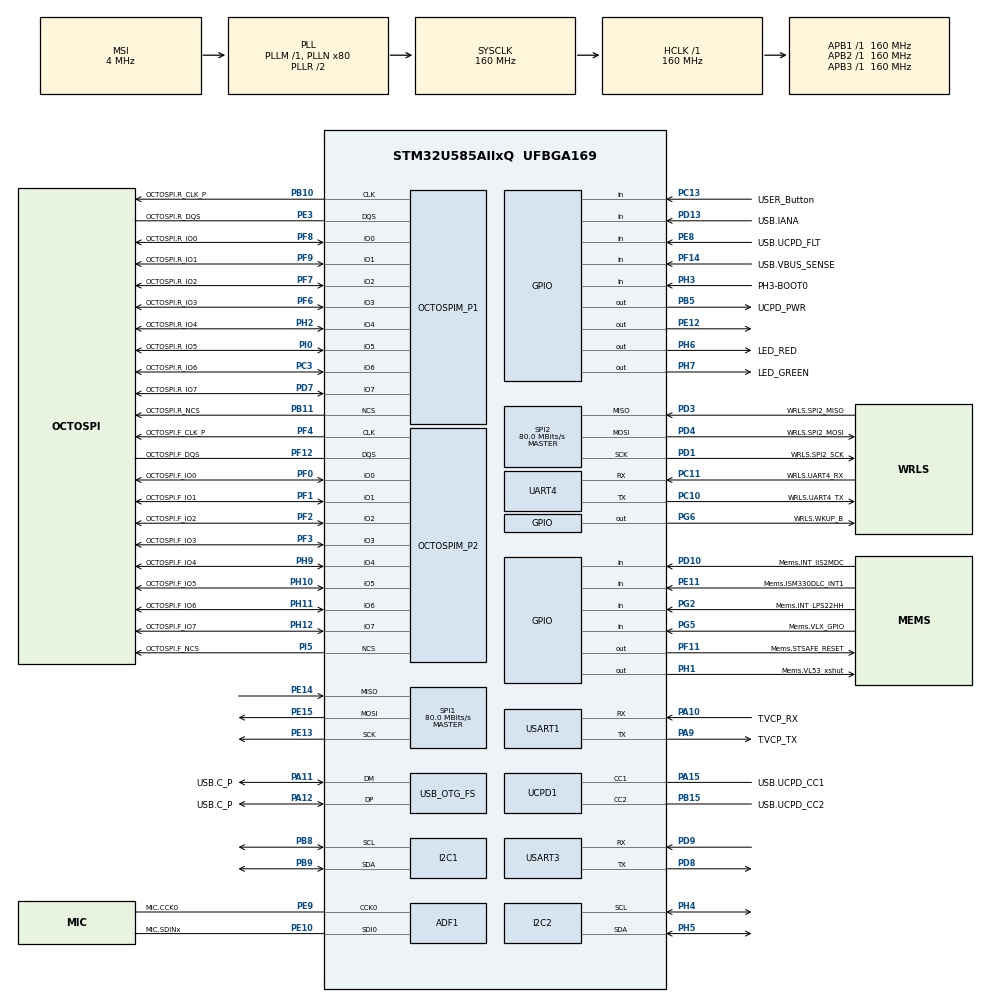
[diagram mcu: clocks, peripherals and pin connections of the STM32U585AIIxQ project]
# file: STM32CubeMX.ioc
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CORTEX_M33_NS.userName=CORTEX_M33
GPDMA1.DESTINC_GPDMACH2=DMA_DINC_INCREMENTED
GPDMA1.DESTINC_GPDMACH4=DMA_DINC_INCREMENTED
GPDMA1.DIRECTION_GPDMACH3=DMA_MEMORY_TO_PERIPH
GPDMA1.DIRECTION_GPDMACH5=DMA_MEMORY_TO_PERIPH
GPDMA1.IPHANDLE_GPDMACH2-SIMPLEREQUEST_GPDMACH2=__NULL
GPDMA1.IPHANDLE_GPDMACH3-SIMPLEREQUEST_GPDMACH3=__NULL
GPDMA1.IPHANDLE_GPDMACH4-SIMPLEREQUEST_GPDMACH4=__NULL
GPDMA1.IPHANDLE_GPDMACH5-SIMPLEREQUEST_GPDMACH5=__NULL
GPDMA1.PRIORITY_GPDMACH2=DMA_LOW_PRIORITY_HIGH_WEIGHT
GPDMA1.PRIORITY_GPDMACH3=DMA_LOW_PRIORITY_HIGH_WEIGHT
GPDMA1.PRIORITY_GPDMACH4=DMA_LOW_PRIORITY_HIGH_WEIGHT
GPDMA1.PRIORITY_GPDMACH5=DMA_LOW_PRIORITY_HIGH_WEIGHT
GPDMA1.REQUEST_GPDMACH2=GPDMA1_REQUEST_SPI1_RX
GPDMA1.REQUEST_GPDMACH3=GPDMA1_REQUEST_SPI1_TX
GPDMA1.REQUEST_GPDMACH4=GPDMA1_REQUEST_SPI2_RX
GPDMA1.REQUEST_GPDMACH5=GPDMA1_REQUEST_SPI2_TX
GPDMA1.SRCINC_GPDMACH3=DMA_SINC_INCREMENTED
GPDMA1.SRCINC_GPDMACH5=DMA_SINC_INCREMENTED
GPDMA1.TRANSFERALLOCATEDPORTDEST_GPDMACH2=DMA_DEST_ALLOCATED_PORT1
GPDMA1.TRANSFERALLOCATEDPORTDEST_GPDMACH3=DMA_DEST_ALLOCATED_PORT1
GPDMA1.TRANSFERALLOCATEDPORTDEST_GPDMACH4=DMA_DEST_ALLOCATED_PORT1
GPDMA1.TRANSFERALLOCATEDPORTDEST_GPDMACH5=DMA_DEST_ALLOCATED_PORT1
I2C1.Timing=0x30909DEC
I2C2.Timing=0x30909DEC
Mcu.Family=STM32U5
Mcu.Name=STM32U585AIIxQ
Mcu.Package=UFBGA169
NVIC.GPDMA1_Channel2_IRQn=true\:0\:0\:false\:false\:true\:false\:true\:true
NVIC.GPDMA1_Channel3_IRQn=true\:0\:0\:false\:false\:true\:false\:true\:true
NVIC.GPDMA1_Channel4_IRQn=true\:0\:0\:false\:false\:true\:false\:true\:true
NVIC.GPDMA1_Channel5_IRQn=true\:0\:0\:false\:false\:true\:false\:true\:true
NVIC.I2C1_ER_IRQn=true\:0\:0\:false\:false\:true\:true\:true\:true
NVIC.I2C1_EV_IRQn=true\:0\:0\:false\:false\:true\:true\:true\:true
NVIC.I2C2_ER_IRQn=true\:0\:0\:false\:false\:true\:true\:true\:true
NVIC.I2C2_EV_IRQn=true\:0\:0\:false\:false\:true\:true\:true\:true
NVIC.PriorityGroup=NVIC_PRIORITYGROUP_4
NVIC.SPI1_IRQn=true\:0\:0\:false\:false\:true\:false\:true\:true
NVIC.SPI2_IRQn=true\:0\:0\:false\:false\:true\:false\:true\:true
NVIC.UART4_IRQn=true\:0\:0\:false\:false\:true\:true\:true\:true
NVIC.USART1_IRQn=true\:0\:0\:false\:false\:true\:true\:true\:true
NVIC.USART3_IRQn=true\:0\:0\:false\:false\:true\:true\:true\:true
OCTOSPI1.ChipSelectBoundary=10
OCTOSPI1.ClockPrescaler=2
OCTOSPI1.DelayBlockBypass=HAL_OSPI_DELAY_BLOCK_USED
OCTOSPI1.DelayHoldQuarterCycle=HAL_OSPI_DHQC_ENABLE
OCTOSPI1.DeviceSize=23
OCTOSPI1.MemoryType=HAL_OSPI_MEMTYPE_APMEMORY
OCTOSPI1.Refresh=100
OCTOSPI2.ChipSelectBoundary=0
OCTOSPI2.ChipSelectHighTime=2
OCTOSPI2.ClockPrescaler=4
OCTOSPI2.DelayBlockBypass=HAL_OSPI_DELAY_BLOCK_USED
OCTOSPI2.DelayHoldQuarterCycle=HAL_OSPI_DHQC_ENABLE
OCTOSPI2.DeviceSize=26
OCTOSPI2.FifoThreshold=4
OCTOSPI2.MemoryType=HAL_OSPI_MEMTYPE_MACRONIX
PA10.GPIO_Label=T.VCP_RX
PA10.Mode=Asynchronous
PA10.Signal=USART1_RX
PA11.GPIO_Label=USB.C_P
PA11.Mode=Device_Only
PA11.Signal=USB_OTG_FS_DM
PA12.GPIO_Label=USB.C_P
PA12.Mode=Device_Only
PA12.Signal=USB_OTG_FS_DP
PA13\ (JTMS/SWDIO).GPIO_Label=T.SWDIO
PA13\ (JTMS/SWDIO).Mode=Trace_Asynchronous_SW
PA13\ (JTMS/SWDIO).Signal=DEBUG_JTMS-SWDIO
PA14\ (JTCK/SWCLK).GPIO_Label=T.SWCLK
PA14\ (JTCK/SWCLK).Mode=Trace_Asynchronous_SW
PA14\ (JTCK/SWCLK).Signal=DEBUG_JTCK-SWCLK
PA15\ (JTDI).GPIO_Label=USB.UCPD_CC1
PA15\ (JTDI).Mode=Dual_Role_AllSignals
PA15\ (JTDI).Signal=UCPD1_CC1
PA9.GPIO_Label=T.VCP_TX
PA9.Mode=Asynchronous
PA9.Signal=USART1_TX
PB1.GPIO_Label=MIC.SDIN0
PB1.Signal=MDF1_SDI0
PB10.GPIO_Label=OCTOSPI.R_CLK_P
PB10.Mode=O1_P1_CLK
PB10.Signal=OCTOSPIM_P1_CLK
PB11.GPIO_Label=OCTOSPI.R_NCS
PB11.Mode=OCTOSPI1_Port1_NCS
PB11.Signal=OCTOSPIM_P1_NCS
PB15.GPIO_Label=USB.UCPD_CC2
PB15.Mode=Dual_Role_AllSignals
PB15.Signal=UCPD1_CC2
PB3\ (JTDO/TRACESWO).GPIO_Label=T.SWO
PB3\ (JTDO/TRACESWO).Mode=Trace_Asynchronous_SW
PB3\ (JTDO/TRACESWO).Signal=DEBUG_JTDO-SWO
PB5.GPIO_Label=UCPD_PWR
PB5.Signal=GPIO_Output
PB8.Mode=I2C
PB8.Signal=I2C1_SCL
PB9.Mode=I2C
PB9.Signal=I2C1_SDA
PC10.GPIO_Label=WRLS.UART4_TX
PC10.Mode=Asynchronous
PC10.Signal=UART4_TX
PC11.GPIO_Label=WRLS.UART4_RX
PC11.Mode=Asynchronous
PC11.Signal=UART4_RX
PC13.GPIO_Label=USER_Button
PC13.Signal=GPIO_Input
PC14-OSC32_IN\ (PC14).GPIO_Label=PC14-OSC32_IN
PC14-OSC32_IN\ (PC14).Mode=LSE-External-Oscillator
PC14-OSC32_IN\ (PC14).Signal=RCC_OSC32_IN
PC15-OSC32_OUT\ (PC15).GPIO_Label=PC15-OSC32_OUT
PC15-OSC32_OUT\ (PC15).Mode=LSE-External-Oscillator
PC15-OSC32_OUT\ (PC15).Signal=RCC_OSC32_OUT
PC3.GPIO_Label=OCTOSPI.R_IO6
PC3.Mode=OCTOSPI1_IOH_Port1H
PC3.Signal=OCTOSPIM_P1_IO6
PD1.GPIO_Label=WRLS.SPI2_SCK
PD1.GPIO_Speed=GPIO_SPEED_FREQ_HIGH
PD1.Mode=Full_Duplex_Master
PD1.Signal=SPI2_SCK
PD10.GPIO_Label=Mems.INT_IIS2MDC
PD10.Signal=GPIO_Input
PD13.GPIO_Label=USB.IANA
PD13.Signal=GPIO_Input
PD3.GPIO_Label=WRLS.SPI2_MISO
PD3.GPIO_Speed=GPIO_SPEED_FREQ_HIGH
PD3.Mode=Full_Duplex_Master
PD3.Signal=SPI2_MISO
PD4.GPIO_Label=WRLS.SPI2_MOSI
PD4.GPIO_Speed=GPIO_SPEED_FREQ_HIGH
PD4.Mode=Full_Duplex_Master
PD4.Signal=SPI2_MOSI
PD7.GPIO_Label=OCTOSPI.R_IO7
PD7.Mode=OCTOSPI1_IOH_Port1H
PD7.Signal=OCTOSPIM_P1_IO7
PD8.GPIO_Speed=GPIO_SPEED_FREQ_MEDIUM
PD8.Mode=Asynchronous
PD8.Signal=USART3_TX
PD9.GPIO_Speed=GPIO_SPEED_FREQ_MEDIUM
PD9.Mode=Asynchronous
PD9.Signal=USART3_RX
PE10.GPIO_Label=MIC.SDINx
PE10.Mode=MOD_ADF_CCK
PE10.Signal=ADF1_SDI0
PE11.GPIO_Label=Mems.ISM330DLC_INT1
PE11.Signal=GPIO_Input
PE12.GPIO_Speed=GPIO_SPEED_FREQ_HIGH
PE12.PinState=GPIO_PIN_SET
PE12.Signal=GPIO_Output
PE13.GPIO_Speed=GPIO_SPEED_FREQ_HIGH
PE13.Mode=Full_Duplex_Master
PE13.Signal=SPI1_SCK
PE14.GPIO_Speed=GPIO_SPEED_FREQ_HIGH
PE14.Mode=Full_Duplex_Master
PE14.Signal=SPI1_MISO
PE15.GPIO_Speed=GPIO_SPEED_FREQ_HIGH
PE15.Mode=Full_Duplex_Master
PE15.Signal=SPI1_MOSI
PE3.GPIO_Label=OCTOSPI.R_DQS
PE3.Mode=OCTOSPI1_Port1_DQS
PE3.Signal=OCTOSPIM_P1_DQS
PE8.GPIO_Label=USB.UCPD_FLT
PE8.Signal=GPIO_Input
PE9.GPIO_Label=MIC.CCK0
PE9.Mode=MOD_MDF_CCK0
PE9.Signal=ADF1_CCK0
PF0.GPIO_Label=OCTOSPI.F_IO0
PF0.Mode=OCTOSPI2_IOL_Port2L
PF0.Signal=OCTOSPIM_P2_IO0
PF1.GPIO_Label=OCTOSPI.F_IO1
PF1.Mode=OCTOSPI2_IOL_Port2L
PF1.Signal=OCTOSPIM_P2_IO1
PF10.GPIO_Label=MIC.CCK1
PF10.Signal=MDF1_CCK1
PF11.GPIO_Label=Mems.STSAFE_RESET
PF11.Signal=GPIO_Output
PF12.GPIO_Label=OCTOSPI.F_DQS
PF12.Mode=OCTOSPI2_Port2_DQS
PF12.Signal=OCTOSPIM_P2_DQS
PF14.GPIO_Label=USB.VBUS_SENSE
PF14.Signal=GPIO_Input
PF2.GPIO_Label=OCTOSPI.F_IO2
PF2.Mode=OCTOSPI2_IOL_Port2L
PF2.Signal=OCTOSPIM_P2_IO2
PF3.GPIO_Label=OCTOSPI.F_IO3
PF3.Mode=OCTOSPI2_IOL_Port2L
PF3.Signal=OCTOSPIM_P2_IO3
PF4.GPIO_Label=OCTOSPI.F_CLK_P
PF4.Mode=O2_P2_CLK
PF4.Signal=OCTOSPIM_P2_CLK
PF6.GPIO_Label=OCTOSPI.R_IO3
PF6.Mode=OCTOSPI1_IOL_Port1L
PF6.Signal=OCTOSPIM_P1_IO3
PF7.GPIO_Label=OCTOSPI.R_IO2
PF7.Mode=OCTOSPI1_IOL_Port1L
PF7.Signal=OCTOSPIM_P1_IO2
PF8.GPIO_Label=OCTOSPI.R_IO0
PF8.Mode=OCTOSPI1_IOL_Port1L
PF8.Signal=OCTOSPIM_P1_IO0
PF9.GPIO_Label=OCTOSPI.R_IO1
PF9.Mode=OCTOSPI1_IOL_Port1L
PF9.Signal=OCTOSPIM_P1_IO1
PG2.GPIO_Label=Mems.INT_LPS22HH
PG2.Signal=GPIO_Input
PG5.GPIO_Label=Mems.VLX_GPIO
PG5.Signal=GPIO_Input
PG6.GPIO_Label=WRLS.WKUP_B
PG6.Signal=GPIO_Output
PH1-OSC_OUT\ (PH1).GPIO_Label=Mems.VL53_xshut
PH1-OSC_OUT\ (PH1).Signal=GPIO_Output
PH10.GPIO_Label=OCTOSPI.F_IO5
PH10.Mode=OCTOSPI2_IOH_Port2H
PH10.Signal=OCTOSPIM_P2_IO5
PH11.GPIO_Label=OCTOSPI.F_IO6
PH11.Mode=OCTOSPI2_IOH_Port2H
PH11.Signal=OCTOSPIM_P2_IO6
PH12.GPIO_Label=OCTOSPI.F_IO7
PH12.Mode=OCTOSPI2_IOH_Port2H
PH12.Signal=OCTOSPIM_P2_IO7
PH2.GPIO_Label=OCTOSPI.R_IO4
PH2.Mode=OCTOSPI1_IOH_Port1H
PH2.Signal=OCTOSPIM_P1_IO4
PH3-BOOT0.GPIO_Label=PH3-BOOT0
PH3-BOOT0.Signal=GPIO_Input
PH4.Mode=I2C
PH4.Signal=I2C2_SCL
PH5.Mode=I2C
PH5.Signal=I2C2_SDA
PH6.GPIO_Label=LED_RED
PH6.Signal=GPIO_Output
PH7.GPIO_Label=LED_GREEN
PH7.Signal=GPIO_Output
PH9.GPIO_Label=OCTOSPI.F_IO4
PH9.Mode=OCTOSPI2_IOH_Port2H
PH9.Signal=OCTOSPIM_P2_IO4
PI0.GPIO_Label=OCTOSPI.R_IO5
PI0.Mode=OCTOSPI1_IOH_Port1H
PI0.Signal=OCTOSPIM_P1_IO5
PI5.GPIO_Label=OCTOSPI.F_NCS
PI5.Mode=OCTOSPI2_Port2_NCS
PI5.Signal=OCTOSPIM_P2_NCS
PWR.PowerMode=PWR_SMPS_SUPPLY
ProjectManager.HeapSize=0x200
ProjectManager.StackSize=0x400
ProjectManager.TargetToolchain=MDK-ARM V5.32
RCC.ADCFreq_Value=16000000
RCC.AHBFreq_Value=160000000
RCC.APB1Freq_Value=160000000
RCC.APB1TimFreq_Value=160000000
RCC.APB2Freq_Value=160000000
RCC.APB2TimFreq_Value=160000000
RCC.APB3Freq_Value=160000000
RCC.CortexFreq_Value=160000000
RCC.DACCLockSelectionVirtual=RCC_DAC1CLKSOURCE_LSI
RCC.DACCLockSelectionVirtualString=RCC_DAC1CLKSOURCE_LSI
RCC.EPOD_VALUE=4000000
RCC.HCLKFreq_Value=160000000
RCC.HSE_VALUE=16000000
RCC.HSI48_VALUE=48000000
RCC.HSI_VALUE=16000000
RCC.LSIDIV_VALUE=32000
RCC.MSI_VALUE=4000000
RCC.PLLN=80
RCC.SYSCLKFreq_VALUE=160000000
RCC.SYSCLKSource=RCC_SYSCLKSOURCE_PLLCLK
RCC.USBFreq_Value=48000000
RCC.VCOOutputFreq_Value=320000000
SPI1.CalculateBaudRate=80.0 MBits/s
SPI1.Direction=SPI_DIRECTION_2LINES
SPI1.Mode=SPI_MODE_MASTER
SPI1.VirtualType=VM_MASTER
SPI2.CalculateBaudRate=80.0 MBits/s
SPI2.Direction=SPI_DIRECTION_2LINES
SPI2.Mode=SPI_MODE_MASTER
SPI2.VirtualType=VM_MASTER
USART1.FIFOMode=FIFOMODE_ENABLE
USART1.RXFIFOThreshold=RXFIFO_THRESHOLD_HALFFULL
USART1.VirtualMode-Asynchronous=VM_ASYNC
USART3.VirtualMode-Asynchronous=VM_ASYNC
USB_OTG_FS.VirtualMode=Device_Only
VP_GPDMA1_VS_GPDMACH2.Mode=SIMPLEREQUEST_GPDMACH2
VP_GPDMA1_VS_GPDMACH3.Mode=SIMPLEREQUEST_GPDMACH3
VP_GPDMA1_VS_GPDMACH4.Mode=SIMPLEREQUEST_GPDMACH4
VP_GPDMA1_VS_GPDMACH5.Mode=SIMPLEREQUEST_GPDMACH5
VP_ICACHE_VS_ICACHE.Mode=DefaultMode
VP_LPBAMQUEUE_VS_QUEUE.Mode=QUEUEMODE
VP_LPBAM_VS_SIG1.Mode=SmartRun
VP_LPBAM_VS_SIG4.Mode=LPDMA1
VP_OCTOSPI1_VS_octo.Mode=octo_mode
VP_OCTOSPI2_VS_octo.Mode=octo_mode
VP_PWR_VS_DBSignals.Mode=DisableDeadBatterySignals
VP_PWR_VS_LPOM.Mode=PowerOptimisation
VP_PWR_VS_SECSignals.Mode=Security/Privilege
board=B-U585I-IOT02A

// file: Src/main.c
/* USER CODE BEGIN Header */
/**
  ******************************************************************************
  * @file           : main.c
  * @brief          : Main program body
  ******************************************************************************
  * @attention
  *
  * Copyright (c) 2023 STMicroelectronics.
  * All rights reserved.
  *
  * This software is licensed under terms that can be found in the LICENSE file
  * in the root directory of this software component.
  * If no LICENSE file comes with this software, it is provided AS-IS.
  *
  ******************************************************************************
  */
/* USER CODE END Header */
#include "main.h"

/* USER CODE BEGIN Includes */

#include "cmsis_vio.h"

/* USER CODE END Includes */

MDF_HandleTypeDef AdfHandle0;
MDF_FilterConfigTypeDef AdfFilterConfig0;

I2C_HandleTypeDef hi2c1;
I2C_HandleTypeDef hi2c2;

OSPI_HandleTypeDef hospi1;
OSPI_HandleTypeDef hospi2;

SPI_HandleTypeDef hspi1;
SPI_HandleTypeDef hspi2;
DMA_HandleTypeDef handle_GPDMA1_Channel3;
DMA_HandleTypeDef handle_GPDMA1_Channel2;
DMA_HandleTypeDef handle_GPDMA1_Channel5;
DMA_HandleTypeDef handle_GPDMA1_Channel4;

UART_HandleTypeDef huart4;
UART_HandleTypeDef huart1;
UART_HandleTypeDef huart3;

PCD_HandleTypeDef hpcd_USB_OTG_FS;

void SystemClock_Config(void);
static void SystemPower_Config(void);
static void MX_GPIO_Init(void);
static void MX_GPDMA1_Init(void);
static void MX_I2C1_Init(void);
static void MX_I2C2_Init(void);
static void MX_OCTOSPI1_Init(void);
static void MX_OCTOSPI2_Init(void);
static void MX_SPI2_Init(void);
static void MX_UART4_Init(void);
static void MX_USART1_UART_Init(void);
static void MX_ADF1_Init(void);
static void MX_USB_OTG_FS_PCD_Init(void);
static void MX_SPI1_Init(void);
static void MX_UCPD1_Init(void);
static void MX_ICACHE_Init(void);
static void MX_USART3_UART_Init(void);

/* USER CODE BEGIN 0 */

#ifdef CMSIS_shield_header
__WEAK int32_t shield_setup (void) {
  return 0;
}
#endif

/**
  * Override default HAL_GetTick function
  */
uint32_t HAL_GetTick (void) {
  static uint32_t ticks = 0U;
         uint32_t i;

  /* If Kernel is not running wait approximately 1 ms then increment
     and return auxiliary tick counter value */
  for (i = (SystemCoreClock >> 14U); i > 0U; i--) {
    __NOP(); __NOP(); __NOP(); __NOP(); __NOP(); __NOP();
    __NOP(); __NOP(); __NOP(); __NOP(); __NOP(); __NOP();
  }
  return ++ticks;
}

/**
  * Override default HAL_InitTick function
  */
HAL_StatusTypeDef HAL_InitTick(uint32_t TickPriority) {

  UNUSED(TickPriority);

  return HAL_OK;
}

/* USER CODE END 0 */

int main(void)
{

  /* MCU Configuration--------------------------------------------------------*/

  /* Reset of all peripherals, Initializes the Flash interface and the Systick. */
  HAL_Init();

  /* Configure the system clock */
  SystemClock_Config();

  /* Configure the System Power */
  SystemPower_Config();

  /* USER CODE BEGIN SysInit */
  SystemCoreClockUpdate();
  /* USER CODE END SysInit */

  /* Initialize all configured peripherals */
  MX_GPIO_Init();
  MX_GPDMA1_Init();
  MX_I2C1_Init();
  MX_I2C2_Init();
  MX_OCTOSPI1_Init();
  MX_OCTOSPI2_Init();
  MX_SPI2_Init();
  MX_UART4_Init();
  MX_USART1_UART_Init();
  MX_ADF1_Init();
  MX_USB_OTG_FS_PCD_Init();
  MX_SPI1_Init();
  MX_UCPD1_Init();
  MX_ICACHE_Init();
  MX_USART3_UART_Init();
  /* USER CODE BEGIN 2 */

  vioInit();

#ifdef CMSIS_shield_header
  shield_setup();
#endif

  app_main();

  /* USER CODE END 2 */

  /* Infinite loop */
  while (1)
  {

  }
}

void SystemClock_Config(void)
{
  RCC_OscInitTypeDef RCC_OscInitStruct = {0};
  RCC_ClkInitTypeDef RCC_ClkInitStruct = {0};

  /** Configure the main internal regulator output voltage
  */
  if (HAL_PWREx_ControlVoltageScaling(PWR_REGULATOR_VOLTAGE_SCALE1) != HAL_OK)
  {
    Error_Handler();
  }

  /** Initializes the CPU, AHB and APB buses clocks
  */
  RCC_OscInitStruct.OscillatorType = RCC_OSCILLATORTYPE_HSI48|RCC_OSCILLATORTYPE_MSI;
  RCC_OscInitStruct.HSI48State = RCC_HSI48_ON;
  RCC_OscInitStruct.MSIState = RCC_MSI_ON;
  RCC_OscInitStruct.MSICalibrationValue = RCC_MSICALIBRATION_DEFAULT;
  RCC_OscInitStruct.MSIClockRange = RCC_MSIRANGE_4;
  RCC_OscInitStruct.PLL.PLLState = RCC_PLL_ON;
  RCC_OscInitStruct.PLL.PLLSource = RCC_PLLSOURCE_MSI;
  RCC_OscInitStruct.PLL.PLLMBOOST = RCC_PLLMBOOST_DIV1;
  RCC_OscInitStruct.PLL.PLLM = 1;
  RCC_OscInitStruct.PLL.PLLN = 80;
  RCC_OscInitStruct.PLL.PLLP = 2;
  RCC_OscInitStruct.PLL.PLLQ = 2;
  RCC_OscInitStruct.PLL.PLLR = 2;
  RCC_OscInitStruct.PLL.PLLRGE = RCC_PLLVCIRANGE_0;
  RCC_OscInitStruct.PLL.PLLFRACN = 0;
  if (HAL_RCC_OscConfig(&RCC_OscInitStruct) != HAL_OK)
  {
    Error_Handler();
  }

  /** Initializes the CPU, AHB and APB buses clocks
  */
  RCC_ClkInitStruct.ClockType = RCC_CLOCKTYPE_HCLK|RCC_CLOCKTYPE_SYSCLK
                              |RCC_CLOCKTYPE_PCLK1|RCC_CLOCKTYPE_PCLK2
                              |RCC_CLOCKTYPE_PCLK3;
  RCC_ClkInitStruct.SYSCLKSource = RCC_SYSCLKSOURCE_PLLCLK;
  RCC_ClkInitStruct.AHBCLKDivider = RCC_SYSCLK_DIV1;
  RCC_ClkInitStruct.APB1CLKDivider = RCC_HCLK_DIV1;
  RCC_ClkInitStruct.APB2CLKDivider = RCC_HCLK_DIV1;
  RCC_ClkInitStruct.APB3CLKDivider = RCC_HCLK_DIV1;

  if (HAL_RCC_ClockConfig(&RCC_ClkInitStruct, FLASH_LATENCY_4) != HAL_OK)
  {
    Error_Handler();
  }
}

/**
  * @brief Power Configuration
  * @retval None
  */
static void SystemPower_Config(void)
{
  HAL_PWREx_EnableVddIO2();

  /*
   * Switch to SMPS regulator instead of LDO
   */
  if (HAL_PWREx_ConfigSupply(PWR_SMPS_SUPPLY) != HAL_OK)
  {
    Error_Handler();
  }
}

static void MX_ADF1_Init(void)
{

  /**
    AdfHandle0 structure initialization and HAL_MDF_Init function call
  */
  AdfHandle0.Instance = ADF1_Filter0;
  AdfHandle0.Init.CommonParam.ProcClockDivider = 1;
  AdfHandle0.Init.CommonParam.OutputClock.Activation = DISABLE;
  AdfHandle0.Init.SerialInterface.Activation = ENABLE;
  AdfHandle0.Init.SerialInterface.ClockSource = MDF_SITF_CCK0_SOURCE;
  AdfHandle0.Init.SerialInterface.Threshold = 4;
  AdfHandle0.Init.FilterBistream = MDF_BITSTREAM0_FALLING;
  if (HAL_MDF_Init(&AdfHandle0) != HAL_OK)
  {
    Error_Handler();
  }

  /**
    AdfFilterConfig0 structure initialization

    WARNING : only structure is filled, no specific init function call for filter
  */
  AdfFilterConfig0.DataSource = MDF_DATA_SOURCE_BSMX;
  AdfFilterConfig0.Delay = 0;
  AdfFilterConfig0.CicMode = MDF_ONE_FILTER_SINC4;
  AdfFilterConfig0.DecimationRatio = 2;
  AdfFilterConfig0.Gain = 0;
  AdfFilterConfig0.ReshapeFilter.Activation = DISABLE;
  AdfFilterConfig0.HighPassFilter.Activation = DISABLE;
  AdfFilterConfig0.SoundActivity.Activation = DISABLE;
  AdfFilterConfig0.AcquisitionMode = MDF_MODE_ASYNC_CONT;
  AdfFilterConfig0.FifoThreshold = MDF_FIFO_THRESHOLD_NOT_EMPTY;
  AdfFilterConfig0.DiscardSamples = 0;

}

static void MX_GPDMA1_Init(void)
{

  /* Peripheral clock enable */
  __HAL_RCC_GPDMA1_CLK_ENABLE();

  /* GPDMA1 interrupt Init */
    HAL_NVIC_SetPriority(GPDMA1_Channel2_IRQn, 0, 0);
    HAL_NVIC_EnableIRQ(GPDMA1_Channel2_IRQn);
    HAL_NVIC_SetPriority(GPDMA1_Channel3_IRQn, 0, 0);
    HAL_NVIC_EnableIRQ(GPDMA1_Channel3_IRQn);
    HAL_NVIC_SetPriority(GPDMA1_Channel4_IRQn, 0, 0);
    HAL_NVIC_EnableIRQ(GPDMA1_Channel4_IRQn);
    HAL_NVIC_SetPriority(GPDMA1_Channel5_IRQn, 0, 0);
    HAL_NVIC_EnableIRQ(GPDMA1_Channel5_IRQn);

}

static void MX_I2C1_Init(void)
{

  hi2c1.Instance = I2C1;
  hi2c1.Init.Timing = 0x30909DEC;
  hi2c1.Init.OwnAddress1 = 0;
  hi2c1.Init.AddressingMode = I2C_ADDRESSINGMODE_7BIT;
  hi2c1.Init.DualAddressMode = I2C_DUALADDRESS_DISABLE;
  hi2c1.Init.OwnAddress2 = 0;
  hi2c1.Init.OwnAddress2Masks = I2C_OA2_NOMASK;
  hi2c1.Init.GeneralCallMode = I2C_GENERALCALL_DISABLE;
  hi2c1.Init.NoStretchMode = I2C_NOSTRETCH_DISABLE;
  if (HAL_I2C_Init(&hi2c1) != HAL_OK)
  {
    Error_Handler();
  }

  /** Configure Analogue filter
  */
  if (HAL_I2CEx_ConfigAnalogFilter(&hi2c1, I2C_ANALOGFILTER_ENABLE) != HAL_OK)
  {
    Error_Handler();
  }

  /** Configure Digital filter
  */
  if (HAL_I2CEx_ConfigDigitalFilter(&hi2c1, 0) != HAL_OK)
  {
    Error_Handler();
  }

}

static void MX_I2C2_Init(void)
{

  hi2c2.Instance = I2C2;
  hi2c2.Init.Timing = 0x30909DEC;
  hi2c2.Init.OwnAddress1 = 0;
  hi2c2.Init.AddressingMode = I2C_ADDRESSINGMODE_7BIT;
  hi2c2.Init.DualAddressMode = I2C_DUALADDRESS_DISABLE;
  hi2c2.Init.OwnAddress2 = 0;
  hi2c2.Init.OwnAddress2Masks = I2C_OA2_NOMASK;
  hi2c2.Init.GeneralCallMode = I2C_GENERALCALL_DISABLE;
  hi2c2.Init.NoStretchMode = I2C_NOSTRETCH_DISABLE;
  if (HAL_I2C_Init(&hi2c2) != HAL_OK)
  {
    Error_Handler();
  }

  /** Configure Analogue filter
  */
  if (HAL_I2CEx_ConfigAnalogFilter(&hi2c2, I2C_ANALOGFILTER_ENABLE) != HAL_OK)
  {
    Error_Handler();
  }

  /** Configure Digital filter
  */
  if (HAL_I2CEx_ConfigDigitalFilter(&hi2c2, 0) != HAL_OK)
  {
    Error_Handler();
  }

}

static void MX_ICACHE_Init(void)
{

  /** Enable instruction cache (default 2-ways set associative cache)
  */
  if (HAL_ICACHE_Enable() != HAL_OK)
  {
    Error_Handler();
  }

}

static void MX_OCTOSPI1_Init(void)
{

  OSPIM_CfgTypeDef sOspiManagerCfg = {0};
  HAL_OSPI_DLYB_CfgTypeDef HAL_OSPI_DLYB_Cfg_Struct = {0};

  /* OCTOSPI1 parameter configuration*/
  hospi1.Instance = OCTOSPI1;
  hospi1.Init.FifoThreshold = 1;
  hospi1.Init.DualQuad = HAL_OSPI_DUALQUAD_DISABLE;
  hospi1.Init.MemoryType = HAL_OSPI_MEMTYPE_APMEMORY;
  hospi1.Init.DeviceSize = 23;
  hospi1.Init.ChipSelectHighTime = 1;
  hospi1.Init.FreeRunningClock = HAL_OSPI_FREERUNCLK_DISABLE;
  hospi1.Init.ClockMode = HAL_OSPI_CLOCK_MODE_0;
  hospi1.Init.WrapSize = HAL_OSPI_WRAP_NOT_SUPPORTED;
  hospi1.Init.ClockPrescaler = 2;
  hospi1.Init.SampleShifting = HAL_OSPI_SAMPLE_SHIFTING_NONE;
  hospi1.Init.DelayHoldQuarterCycle = HAL_OSPI_DHQC_ENABLE;
  hospi1.Init.ChipSelectBoundary = 10;
  hospi1.Init.DelayBlockBypass = HAL_OSPI_DELAY_BLOCK_USED;
  hospi1.Init.MaxTran = 0;
  hospi1.Init.Refresh = 100;
  if (HAL_OSPI_Init(&hospi1) != HAL_OK)
  {
    Error_Handler();
  }
  sOspiManagerCfg.ClkPort = 1;
  sOspiManagerCfg.DQSPort = 1;
  sOspiManagerCfg.NCSPort = 1;
  sOspiManagerCfg.IOLowPort = HAL_OSPIM_IOPORT_1_LOW;
  sOspiManagerCfg.IOHighPort = HAL_OSPIM_IOPORT_1_HIGH;
  if (HAL_OSPIM_Config(&hospi1, &sOspiManagerCfg, HAL_OSPI_TIMEOUT_DEFAULT_VALUE) != HAL_OK)
  {
    Error_Handler();
  }
  HAL_OSPI_DLYB_Cfg_Struct.Units = 0;
  HAL_OSPI_DLYB_Cfg_Struct.PhaseSel = 0;
  if (HAL_OSPI_DLYB_SetConfig(&hospi1, &HAL_OSPI_DLYB_Cfg_Struct) != HAL_OK)
  {
    Error_Handler();
  }

}

static void MX_OCTOSPI2_Init(void)
{

  OSPIM_CfgTypeDef sOspiManagerCfg = {0};
  HAL_OSPI_DLYB_CfgTypeDef HAL_OSPI_DLYB_Cfg_Struct = {0};

  /* OCTOSPI2 parameter configuration*/
  hospi2.Instance = OCTOSPI2;
  hospi2.Init.FifoThreshold = 4;
  hospi2.Init.DualQuad = HAL_OSPI_DUALQUAD_DISABLE;
  hospi2.Init.MemoryType = HAL_OSPI_MEMTYPE_MACRONIX;
  hospi2.Init.DeviceSize = 26;
  hospi2.Init.ChipSelectHighTime = 2;
  hospi2.Init.FreeRunningClock = HAL_OSPI_FREERUNCLK_DISABLE;
  hospi2.Init.ClockMode = HAL_OSPI_CLOCK_MODE_0;
  hospi2.Init.WrapSize = HAL_OSPI_WRAP_NOT_SUPPORTED;
  hospi2.Init.ClockPrescaler = 4;
  hospi2.Init.SampleShifting = HAL_OSPI_SAMPLE_SHIFTING_NONE;
  hospi2.Init.DelayHoldQuarterCycle = HAL_OSPI_DHQC_ENABLE;
  hospi2.Init.ChipSelectBoundary = 0;
  hospi2.Init.DelayBlockBypass = HAL_OSPI_DELAY_BLOCK_USED;
  hospi2.Init.MaxTran = 0;
  hospi2.Init.Refresh = 0;
  if (HAL_OSPI_Init(&hospi2) != HAL_OK)
  {
    Error_Handler();
  }
  sOspiManagerCfg.ClkPort = 2;
  sOspiManagerCfg.DQSPort = 2;
  sOspiManagerCfg.NCSPort = 2;
  sOspiManagerCfg.IOLowPort = HAL_OSPIM_IOPORT_2_LOW;
  sOspiManagerCfg.IOHighPort = HAL_OSPIM_IOPORT_2_HIGH;
  if (HAL_OSPIM_Config(&hospi2, &sOspiManagerCfg, HAL_OSPI_TIMEOUT_DEFAULT_VALUE) != HAL_OK)
  {
    Error_Handler();
  }
  HAL_OSPI_DLYB_Cfg_Struct.Units = 0;
  HAL_OSPI_DLYB_Cfg_Struct.PhaseSel = 0;
  if (HAL_OSPI_DLYB_SetConfig(&hospi2, &HAL_OSPI_DLYB_Cfg_Struct) != HAL_OK)
  {
    Error_Handler();
  }

}

static void MX_SPI1_Init(void)
{

  SPI_AutonomousModeConfTypeDef HAL_SPI_AutonomousMode_Cfg_Struct = {0};

  /* SPI1 parameter configuration*/
  hspi1.Instance = SPI1;
  hspi1.Init.Mode = SPI_MODE_MASTER;
  hspi1.Init.Direction = SPI_DIRECTION_2LINES;
  hspi1.Init.DataSize = SPI_DATASIZE_4BIT;
  hspi1.Init.CLKPolarity = SPI_POLARITY_LOW;
  hspi1.Init.CLKPhase = SPI_PHASE_1EDGE;
  hspi1.Init.NSS = SPI_NSS_SOFT;
  hspi1.Init.BaudRatePrescaler = SPI_BAUDRATEPRESCALER_2;
  hspi1.Init.FirstBit = SPI_FIRSTBIT_MSB;
  hspi1.Init.TIMode = SPI_TIMODE_DISABLE;
  hspi1.Init.CRCCalculation = SPI_CRCCALCULATION_DISABLE;
  hspi1.Init.CRCPolynomial = 0x7;
  hspi1.Init.NSSPMode = SPI_NSS_PULSE_ENABLE;
  hspi1.Init.NSSPolarity = SPI_NSS_POLARITY_LOW;
  hspi1.Init.FifoThreshold = SPI_FIFO_THRESHOLD_01DATA;
  hspi1.Init.MasterSSIdleness = SPI_MASTER_SS_IDLENESS_00CYCLE;
  hspi1.Init.MasterInterDataIdleness = SPI_MASTER_INTERDATA_IDLENESS_00CYCLE;
  hspi1.Init.MasterReceiverAutoSusp = SPI_MASTER_RX_AUTOSUSP_DISABLE;
  hspi1.Init.MasterKeepIOState = SPI_MASTER_KEEP_IO_STATE_DISABLE;
  hspi1.Init.IOSwap = SPI_IO_SWAP_DISABLE;
  hspi1.Init.ReadyMasterManagement = SPI_RDY_MASTER_MANAGEMENT_INTERNALLY;
  hspi1.Init.ReadyPolarity = SPI_RDY_POLARITY_HIGH;
  if (HAL_SPI_Init(&hspi1) != HAL_OK)
  {
    Error_Handler();
  }
  HAL_SPI_AutonomousMode_Cfg_Struct.TriggerState = SPI_AUTO_MODE_DISABLE;
  HAL_SPI_AutonomousMode_Cfg_Struct.TriggerSelection = SPI_GRP1_GPDMA_CH0_TCF_TRG;
  HAL_SPI_AutonomousMode_Cfg_Struct.TriggerPolarity = SPI_TRIG_POLARITY_RISING;
  if (HAL_SPIEx_SetConfigAutonomousMode(&hspi1, &HAL_SPI_AutonomousMode_Cfg_Struct) != HAL_OK)
  {
    Error_Handler();
  }

}

static void MX_SPI2_Init(void)
{

  SPI_AutonomousModeConfTypeDef HAL_SPI_AutonomousMode_Cfg_Struct = {0};

  /* SPI2 parameter configuration*/
  hspi2.Instance = SPI2;
  hspi2.Init.Mode = SPI_MODE_MASTER;
  hspi2.Init.Direction = SPI_DIRECTION_2LINES;
  hspi2.Init.DataSize = SPI_DATASIZE_4BIT;
  hspi2.Init.CLKPolarity = SPI_POLARITY_LOW;
  hspi2.Init.CLKPhase = SPI_PHASE_1EDGE;
  hspi2.Init.NSS = SPI_NSS_SOFT;
  hspi2.Init.BaudRatePrescaler = SPI_BAUDRATEPRESCALER_2;
  hspi2.Init.FirstBit = SPI_FIRSTBIT_MSB;
  hspi2.Init.TIMode = SPI_TIMODE_DISABLE;
  hspi2.Init.CRCCalculation = SPI_CRCCALCULATION_DISABLE;
  hspi2.Init.CRCPolynomial = 0x7;
  hspi2.Init.NSSPMode = SPI_NSS_PULSE_ENABLE;
  hspi2.Init.NSSPolarity = SPI_NSS_POLARITY_LOW;
  hspi2.Init.FifoThreshold = SPI_FIFO_THRESHOLD_01DATA;
  hspi2.Init.MasterSSIdleness = SPI_MASTER_SS_IDLENESS_00CYCLE;
  hspi2.Init.MasterInterDataIdleness = SPI_MASTER_INTERDATA_IDLENESS_00CYCLE;
  hspi2.Init.MasterReceiverAutoSusp = SPI_MASTER_RX_AUTOSUSP_DISABLE;
  hspi2.Init.MasterKeepIOState = SPI_MASTER_KEEP_IO_STATE_DISABLE;
  hspi2.Init.IOSwap = SPI_IO_SWAP_DISABLE;
  hspi2.Init.ReadyMasterManagement = SPI_RDY_MASTER_MANAGEMENT_INTERNALLY;
  hspi2.Init.ReadyPolarity = SPI_RDY_POLARITY_HIGH;
  if (HAL_SPI_Init(&hspi2) != HAL_OK)
  {
    Error_Handler();
  }
  HAL_SPI_AutonomousMode_Cfg_Struct.TriggerState = SPI_AUTO_MODE_DISABLE;
  HAL_SPI_AutonomousMode_Cfg_Struct.TriggerSelection = SPI_GRP1_GPDMA_CH0_TCF_TRG;
  HAL_SPI_AutonomousMode_Cfg_Struct.TriggerPolarity = SPI_TRIG_POLARITY_RISING;
  if (HAL_SPIEx_SetConfigAutonomousMode(&hspi2, &HAL_SPI_AutonomousMode_Cfg_Struct) != HAL_OK)
  {
    Error_Handler();
  }

}

static void MX_UART4_Init(void)
{

  huart4.Instance = UART4;
  huart4.Init.BaudRate = 115200;
  huart4.Init.WordLength = UART_WORDLENGTH_8B;
  huart4.Init.StopBits = UART_STOPBITS_1;
  huart4.Init.Parity = UART_PARITY_NONE;
  huart4.Init.Mode = UART_MODE_TX_RX;
  huart4.Init.HwFlowCtl = UART_HWCONTROL_NONE;
  huart4.Init.OverSampling = UART_OVERSAMPLING_16;
  huart4.Init.OneBitSampling = UART_ONE_BIT_SAMPLE_DISABLE;
  huart4.Init.ClockPrescaler = UART_PRESCALER_DIV1;
  huart4.AdvancedInit.AdvFeatureInit = UART_ADVFEATURE_NO_INIT;
  if (HAL_UART_Init(&huart4) != HAL_OK)
  {
    Error_Handler();
  }
  if (HAL_UARTEx_SetTxFifoThreshold(&huart4, UART_TXFIFO_THRESHOLD_1_8) != HAL_OK)
  {
    Error_Handler();
  }
  if (HAL_UARTEx_SetRxFifoThreshold(&huart4, UART_RXFIFO_THRESHOLD_1_8) != HAL_OK)
  {
    Error_Handler();
  }
  if (HAL_UARTEx_DisableFifoMode(&huart4) != HAL_OK)
  {
    Error_Handler();
  }

}

static void MX_USART1_UART_Init(void)
{

  huart1.Instance = USART1;
  huart1.Init.BaudRate = 115200;
  huart1.Init.WordLength = UART_WORDLENGTH_8B;
  huart1.Init.StopBits = UART_STOPBITS_1;
  huart1.Init.Parity = UART_PARITY_NONE;
  huart1.Init.Mode = UART_MODE_TX_RX;
  huart1.Init.HwFlowCtl = UART_HWCONTROL_NONE;
  huart1.Init.OverSampling = UART_OVERSAMPLING_16;
  huart1.Init.OneBitSampling = UART_ONE_BIT_SAMPLE_DISABLE;
  huart1.Init.ClockPrescaler = UART_PRESCALER_DIV1;
  huart1.AdvancedInit.AdvFeatureInit = UART_ADVFEATURE_NO_INIT;
  if (HAL_UART_Init(&huart1) != HAL_OK)
  {
    Error_Handler();
  }
  if (HAL_UARTEx_SetTxFifoThreshold(&huart1, UART_TXFIFO_THRESHOLD_1_8) != HAL_OK)
  {
    Error_Handler();
  }
  if (HAL_UARTEx_SetRxFifoThreshold(&huart1, UART_RXFIFO_THRESHOLD_1_2) != HAL_OK)
  {
    Error_Handler();
  }
  if (HAL_UARTEx_EnableFifoMode(&huart1) != HAL_OK)
  {
    Error_Handler();
  }

}

static void MX_USART3_UART_Init(void)
{

  huart3.Instance = USART3;
  huart3.Init.BaudRate = 115200;
  huart3.Init.WordLength = UART_WORDLENGTH_8B;
  huart3.Init.StopBits = UART_STOPBITS_1;
  huart3.Init.Parity = UART_PARITY_NONE;
  huart3.Init.Mode = UART_MODE_TX_RX;
  huart3.Init.HwFlowCtl = UART_HWCONTROL_NONE;
  huart3.Init.OverSampling = UART_OVERSAMPLING_16;
  huart3.Init.OneBitSampling = UART_ONE_BIT_SAMPLE_DISABLE;
  huart3.Init.ClockPrescaler = UART_PRESCALER_DIV1;
  huart3.AdvancedInit.AdvFeatureInit = UART_ADVFEATURE_NO_INIT;
  if (HAL_UART_Init(&huart3) != HAL_OK)
  {
    Error_Handler();
  }
  if (HAL_UARTEx_SetTxFifoThreshold(&huart3, UART_TXFIFO_THRESHOLD_1_8) != HAL_OK)
  {
    Error_Handler();
  }
  if (HAL_UARTEx_SetRxFifoThreshold(&huart3, UART_RXFIFO_THRESHOLD_1_8) != HAL_OK)
  {
    Error_Handler();
  }
  if (HAL_UARTEx_DisableFifoMode(&huart3) != HAL_OK)
  {
    Error_Handler();
  }

}

static void MX_UCPD1_Init(void)
{

  LL_GPIO_InitTypeDef GPIO_InitStruct = {0};

  /* Peripheral clock enable */
  LL_APB1_GRP2_EnableClock(LL_APB1_GRP2_PERIPH_UCPD1);

  LL_AHB2_GRP1_EnableClock(LL_AHB2_GRP1_PERIPH_GPIOA);
  LL_AHB2_GRP1_EnableClock(LL_AHB2_GRP1_PERIPH_GPIOB);
  /**UCPD1 GPIO Configuration
  PA15 (JTDI)   ------> UCPD1_CC1
  PB15   ------> UCPD1_CC2
  */
  GPIO_InitStruct.Pin = LL_GPIO_PIN_15;
  GPIO_InitStruct.Mode = LL_GPIO_MODE_ANALOG;
  GPIO_InitStruct.Pull = LL_GPIO_PULL_NO;
  LL_GPIO_Init(GPIOA, &GPIO_InitStruct);

  GPIO_InitStruct.Pin = LL_GPIO_PIN_15;
  GPIO_InitStruct.Mode = LL_GPIO_MODE_ANALOG;
  GPIO_InitStruct.Pull = LL_GPIO_PULL_NO;
  LL_GPIO_Init(GPIOB, &GPIO_InitStruct);

}

static void MX_USB_OTG_FS_PCD_Init(void)
{

  hpcd_USB_OTG_FS.Instance = USB_OTG_FS;
  hpcd_USB_OTG_FS.Init.dev_endpoints = 6;
  hpcd_USB_OTG_FS.Init.phy_itface = PCD_PHY_EMBEDDED;
  hpcd_USB_OTG_FS.Init.Sof_enable = DISABLE;
  hpcd_USB_OTG_FS.Init.low_power_enable = DISABLE;
  hpcd_USB_OTG_FS.Init.lpm_enable = DISABLE;
  hpcd_USB_OTG_FS.Init.battery_charging_enable = DISABLE;
  hpcd_USB_OTG_FS.Init.use_dedicated_ep1 = DISABLE;
  hpcd_USB_OTG_FS.Init.vbus_sensing_enable = DISABLE;
  if (HAL_PCD_Init(&hpcd_USB_OTG_FS) != HAL_OK)
  {
    Error_Handler();
  }

}

static void MX_GPIO_Init(void)
{
  GPIO_InitTypeDef GPIO_InitStruct = {0};

  /* GPIO Ports Clock Enable */
  __HAL_RCC_GPIOC_CLK_ENABLE();
  __HAL_RCC_GPIOA_CLK_ENABLE();
  __HAL_RCC_GPIOI_CLK_ENABLE();
  __HAL_RCC_GPIOH_CLK_ENABLE();
  __HAL_RCC_GPIOB_CLK_ENABLE();
  __HAL_RCC_GPIOD_CLK_ENABLE();
  __HAL_RCC_GPIOE_CLK_ENABLE();
  __HAL_RCC_GPIOF_CLK_ENABLE();
  __HAL_RCC_GPIOG_CLK_ENABLE();

  /*Configure GPIO pin Output Level */
  HAL_GPIO_WritePin(UCPD_PWR_GPIO_Port, UCPD_PWR_Pin, GPIO_PIN_RESET);

  /*Configure GPIO pin Output Level */
  HAL_GPIO_WritePin(GPIOH, LED_RED_Pin|LED_GREEN_Pin|Mems_VL53_xshut_Pin, GPIO_PIN_RESET);

  /*Configure GPIO pin Output Level */
  HAL_GPIO_WritePin(WRLS_WKUP_B_GPIO_Port, WRLS_WKUP_B_Pin, GPIO_PIN_RESET);

  /*Configure GPIO pin Output Level */
  HAL_GPIO_WritePin(Mems_STSAFE_RESET_GPIO_Port, Mems_STSAFE_RESET_Pin, GPIO_PIN_RESET);

  /*Configure GPIO pin Output Level */
  HAL_GPIO_WritePin(GPIOE, GPIO_PIN_12, GPIO_PIN_SET);

  /*Configure GPIO pin : PH3_BOOT0_Pin */
  GPIO_InitStruct.Pin = PH3_BOOT0_Pin;
  GPIO_InitStruct.Mode = GPIO_MODE_INPUT;
  GPIO_InitStruct.Pull = GPIO_NOPULL;
  HAL_GPIO_Init(PH3_BOOT0_GPIO_Port, &GPIO_InitStruct);

  /*Configure GPIO pin : UCPD_PWR_Pin */
  GPIO_InitStruct.Pin = UCPD_PWR_Pin;
  GPIO_InitStruct.Mode = GPIO_MODE_OUTPUT_PP;
  GPIO_InitStruct.Pull = GPIO_NOPULL;
  GPIO_InitStruct.Speed = GPIO_SPEED_FREQ_LOW;
  HAL_GPIO_Init(UCPD_PWR_GPIO_Port, &GPIO_InitStruct);

  /*Configure GPIO pin : USER_Button_Pin */
  GPIO_InitStruct.Pin = USER_Button_Pin;
  GPIO_InitStruct.Mode = GPIO_MODE_INPUT;
  GPIO_InitStruct.Pull = GPIO_NOPULL;
  HAL_GPIO_Init(USER_Button_GPIO_Port, &GPIO_InitStruct);

  /*Configure GPIO pins : LED_RED_Pin LED_GREEN_Pin Mems_VL53_xshut_Pin */
  GPIO_InitStruct.Pin = LED_RED_Pin|LED_GREEN_Pin|Mems_VL53_xshut_Pin;
  GPIO_InitStruct.Mode = GPIO_MODE_OUTPUT_PP;
  GPIO_InitStruct.Pull = GPIO_NOPULL;
  GPIO_InitStruct.Speed = GPIO_SPEED_FREQ_LOW;
  HAL_GPIO_Init(GPIOH, &GPIO_InitStruct);

  /*Configure GPIO pin : MIC_CCK1_Pin */
  GPIO_InitStruct.Pin = MIC_CCK1_Pin;
  GPIO_InitStruct.Mode = GPIO_MODE_AF_PP;
  GPIO_InitStruct.Pull = GPIO_NOPULL;
  GPIO_InitStruct.Speed = GPIO_SPEED_FREQ_LOW;
  GPIO_InitStruct.Alternate = GPIO_AF6_MDF1;
  HAL_GPIO_Init(MIC_CCK1_GPIO_Port, &GPIO_InitStruct);

  /*Configure GPIO pin : WRLS_WKUP_B_Pin */
  GPIO_InitStruct.Pin = WRLS_WKUP_B_Pin;
  GPIO_InitStruct.Mode = GPIO_MODE_OUTPUT_PP;
  GPIO_InitStruct.Pull = GPIO_NOPULL;
  GPIO_InitStruct.Speed = GPIO_SPEED_FREQ_LOW;
  HAL_GPIO_Init(WRLS_WKUP_B_GPIO_Port, &GPIO_InitStruct);

  /*Configure GPIO pins : Mems_VLX_GPIO_Pin Mems_INT_LPS22HH_Pin */
  GPIO_InitStruct.Pin = Mems_VLX_GPIO_Pin|Mems_INT_LPS22HH_Pin;
  GPIO_InitStruct.Mode = GPIO_MODE_INPUT;
  GPIO_InitStruct.Pull = GPIO_NOPULL;
  HAL_GPIO_Init(GPIOG, &GPIO_InitStruct);

  /*Configure GPIO pins : USB_UCPD_FLT_Pin Mems_ISM330DLC_INT1_Pin */
  GPIO_InitStruct.Pin = USB_UCPD_FLT_Pin|Mems_ISM330DLC_INT1_Pin;
  GPIO_InitStruct.Mode = GPIO_MODE_INPUT;
  GPIO_InitStruct.Pull = GPIO_NOPULL;
  HAL_GPIO_Init(GPIOE, &GPIO_InitStruct);

  /*Configure GPIO pins : Mems_INT_IIS2MDC_Pin USB_IANA_Pin */
  GPIO_InitStruct.Pin = Mems_INT_IIS2MDC_Pin|USB_IANA_Pin;
  GPIO_InitStruct.Mode = GPIO_MODE_INPUT;
  GPIO_InitStruct.Pull = GPIO_NOPULL;
  HAL_GPIO_Init(GPIOD, &GPIO_InitStruct);

  /*Configure GPIO pin : USB_VBUS_SENSE_Pin */
  GPIO_InitStruct.Pin = USB_VBUS_SENSE_Pin;
  GPIO_InitStruct.Mode = GPIO_MODE_INPUT;
  GPIO_InitStruct.Pull = GPIO_NOPULL;
  HAL_GPIO_Init(USB_VBUS_SENSE_GPIO_Port, &GPIO_InitStruct);

  /*Configure GPIO pin : Mems_STSAFE_RESET_Pin */
  GPIO_InitStruct.Pin = Mems_STSAFE_RESET_Pin;
  GPIO_InitStruct.Mode = GPIO_MODE_OUTPUT_PP;
  GPIO_InitStruct.Pull = GPIO_NOPULL;
  GPIO_InitStruct.Speed = GPIO_SPEED_FREQ_LOW;
  HAL_GPIO_Init(Mems_STSAFE_RESET_GPIO_Port, &GPIO_InitStruct);

  /*Configure GPIO pin : MIC_SDIN0_Pin */
  GPIO_InitStruct.Pin = MIC_SDIN0_Pin;
  GPIO_InitStruct.Mode = GPIO_MODE_AF_PP;
  GPIO_InitStruct.Pull = GPIO_NOPULL;
  GPIO_InitStruct.Speed = GPIO_SPEED_FREQ_LOW;
  GPIO_InitStruct.Alternate = GPIO_AF6_MDF1;
  HAL_GPIO_Init(MIC_SDIN0_GPIO_Port, &GPIO_InitStruct);

  /*Configure GPIO pin : PE12 */
  GPIO_InitStruct.Pin = GPIO_PIN_12;
  GPIO_InitStruct.Mode = GPIO_MODE_OUTPUT_PP;
  GPIO_InitStruct.Pull = GPIO_NOPULL;
  GPIO_InitStruct.Speed = GPIO_SPEED_FREQ_HIGH;
  HAL_GPIO_Init(GPIOE, &GPIO_InitStruct);

}

void Error_Handler(void)
{
  __disable_irq();
  while (1)
  {
  }
}
